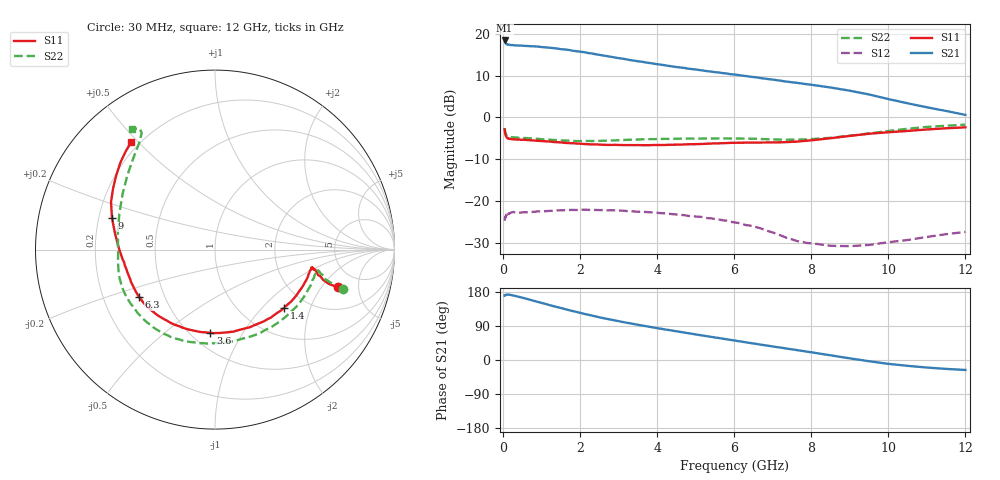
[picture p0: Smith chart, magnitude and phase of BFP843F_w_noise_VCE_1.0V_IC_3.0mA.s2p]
! Infineon Technologies  Discrete & RF Semiconductors
! BFP843F
! VCE =  1.0 V,  IC =  3.0 mA
! Common Emitter S-Parameters:  Aug 2013
# GHz  S  MA  R  50
!  f  S11  S21  S12  S22
! GHz  MAG  ANG  MAG  ANG  MAG  ANG  MAG  ANG
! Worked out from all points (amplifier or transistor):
!   103 points, 30 MHz to 12 GHz, reference 50 ohm
!   highest |S21| = 18.4 dB at 30 MHz (marker M1)
!   |S21| within 3 dB of that: start of sweep to 2.198 GHz
!   unconditionally stable (mu >= 1): 186.7 MHz to 242.4 MHz; 254.5 MHz to 502.5 MHz; 4.467 GHz to end of sweep
!   at 400 MHz: K = 1.01, MAG = 19.6 dB, |S12| = -22.8 dB
!   at 3.7 GHz: K = 0.93, MSG = 17.9 dB, |S12| = -22.7 dB
!   at 12 GHz: K = 1.72, MAG = 9.1 dB, |S12| = -27.5 dB
!   lowest NFmin = 0.93 dB at 450 MHz
!   S11 on the Smith chart (normalised r, x): 30 MHz: 3.38, -2.91; 1.4 GHz: 1.55, -1.34; 3.6 GHz: 0.62, -0.73; 6.3 GHz: 0.36, -0.25; 9 GHz: 0.26, +0.14; 12 GHz: 0.17, +0.48
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0.03  0.715 -17.1  8.351 169.6  0.0577 36.6  0.7466 -16.9
0.04  0.6601 -16.7  8.042 169.7  0.0626 29.2  0.6903 -16.4
0.05  0.6264 -15.7  7.805 171.7  0.0646 22.1  0.6575 -15.6
0.07  0.5904 -13.8  7.604 172.3  0.0681 18.8  0.6232 -13.4
0.15  0.5539 -10.6  7.433 172.5  0.0706 9.1  0.5837 -11.2
0.45  0.5389 -14.8  7.26 165.4  0.0722 2.5  0.571 -19.1
0.9  0.5231 -26.5  7.054 153.1  0.0748 0.1  0.5532 -35.4
1.4  0.5039 -40.0  6.676 139.5  0.0767 -2.8  0.5337 -54.1
1.7  0.4915 -48.0  6.423 131.6  0.0777 -5.0  0.5257 -65.1
2.1  0.4791 -58.4  6.04 121.7  0.0782 -7.9  0.5208 -79.3
2.7  0.4675 -73.0  5.411 108.3  0.0768 -12.6  0.5255 -97.4
3.6  0.4642 -93.3  4.64 91.0  0.0738 -19.0  0.5457 -117.3
4.1  0.4664 -104.2  4.278 82.3  0.0711 -22.4  0.5514 -126.2
5.1  0.479 -125.1  3.688 65.8  0.0644 -29.2  0.5559 -142.6
6.1  0.497 -144.1  3.221 49.8  0.0543 -35.6  0.5587 -158.3
6.3  0.4985 -147.8  3.126 46.6  0.0511 -36.7  0.5552 -161.5
7.2  0.5027 -164.3  2.753 32.7  0.0385 -36.5  0.5419 -175.5
8.5  0.5628 171.2  2.278 12.3  0.0289 -15.7  0.5693 159.4
9  0.6 163.0  2.086 4.3  0.0286 -6.7  0.6016 148.8
10  0.6633 148.8  1.657 -10.2  0.0319 8.1  0.6867 131.2
10.5  0.6878 143.2  1.474 -15.4  0.0339 13.3  0.7303 125.3
12  0.7594 128.0  1.071 -26.3  0.0424 23.9  0.8185 124.6
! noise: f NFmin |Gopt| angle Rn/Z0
0.45  0.93  0.25  10  0.08
0.9  0.95  0.25  20  0.09
1.5  1.04  0.25  27  0.09
1.9  1.09  0.24  40  0.09
2.4  1.14  0.23  53  0.1
3.5  1.23  0.24  79  0.17
5.5  1.35  0.23  133  0.27
10  2.24  0.43  -133  0.29
